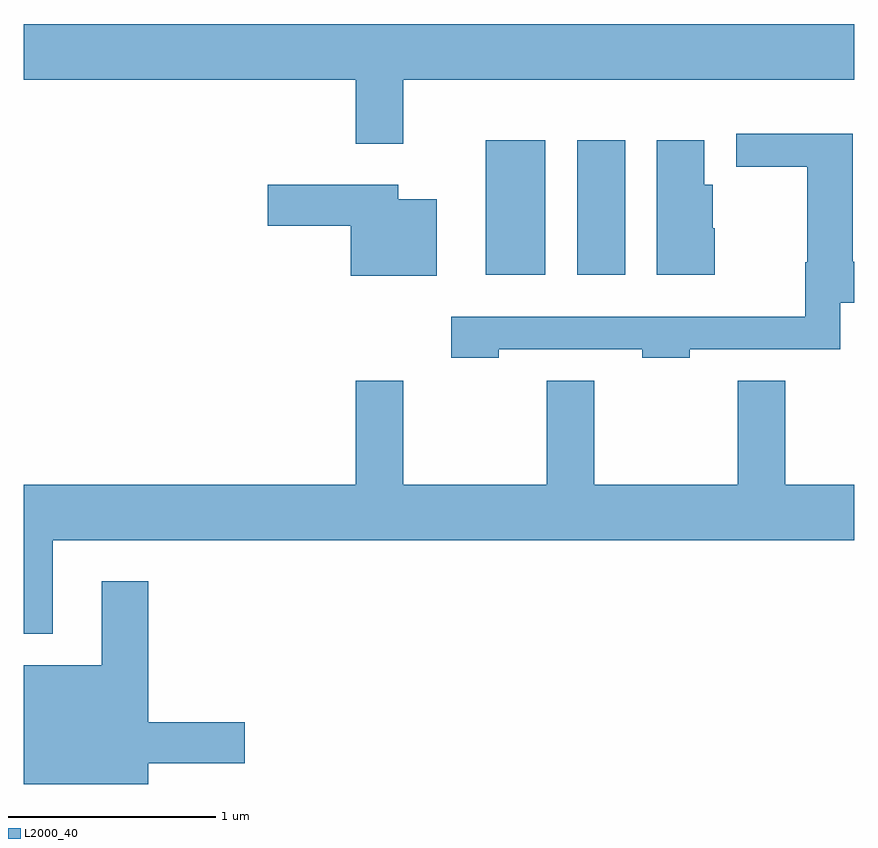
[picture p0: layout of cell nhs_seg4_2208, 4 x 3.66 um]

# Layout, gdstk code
import gdstk
lib = gdstk.Library(unit=1e-6, precision=1e-09)
def R(c, l, rs):  # rectangles x0, y0, x1, y1
    for r in rs: c.add(gdstk.rectangle(r[:2], r[2:], *l))
def P(c, l, *ps):  # polygons
    for p in ps: c.add(gdstk.Polygon(p, *l))
L2000_40 = (2000, 40)

nhs_seg4_2208 = lib.new_cell('nhs_seg4_2208')
R(nhs_seg4_2208, L2000_40, [(251.836,1320.436,252.124,1321.084), (252.276,1320.436,252.509,1321.084)])
P(nhs_seg4_2208, L2000_40, [(251.439,1321.376),(253.611,1321.376),(253.611,1321.644),(249.611,1321.644),(249.611,1321.376),(251.211,1321.376),(251.211,1321.066),(251.439,1321.066)],
  [(251.899,1320.076),(252.591,1320.076),(252.591,1320.036),(252.819,1320.036),(252.819,1320.076),(253.544,1320.076),(253.544,1320.301),(253.611,1320.301),(253.611,1320.499),(253.604,1320.499),(253.604,1321.114),(253.043,1321.114),(253.043,1320.956),(253.386,1320.956),(253.386,1320.495),(253.376,1320.495),(253.376,1320.234),(251.671,1320.234),(251.671,1320.036),(251.899,1320.036)],
  [(252.939,1320.66),(252.929,1320.66),(252.929,1320.869),(252.889,1320.869),(252.889,1321.084),(252.661,1321.084),(252.661,1320.436),(252.939,1320.436)],
  [(251.599,1320.799),(251.414,1320.799),(251.414,1320.869),(250.786,1320.869),(250.786,1320.671),(251.186,1320.671),(251.186,1320.431),(251.599,1320.431)],
  [(249.749,1319.156),(253.611,1319.156),(253.611,1319.424),(253.279,1319.424),(253.279,1319.924),(253.051,1319.924),(253.051,1319.424),(252.359,1319.424),(252.359,1319.924),(252.131,1319.924),(252.131,1319.424),(251.439,1319.424),(251.439,1319.924),(251.211,1319.924),(251.211,1319.424),(249.611,1319.424),(249.611,1318.706),(249.749,1318.706)],
  [(250.209,1318.081),(250.674,1318.081),(250.674,1318.279),(250.209,1318.279),(250.209,1318.959),(249.986,1318.959),(249.986,1318.554),(249.611,1318.554),(249.611,1317.982),(250.209,1317.982)])

lib.write_gds('nhs_seg4_2208.gds')
